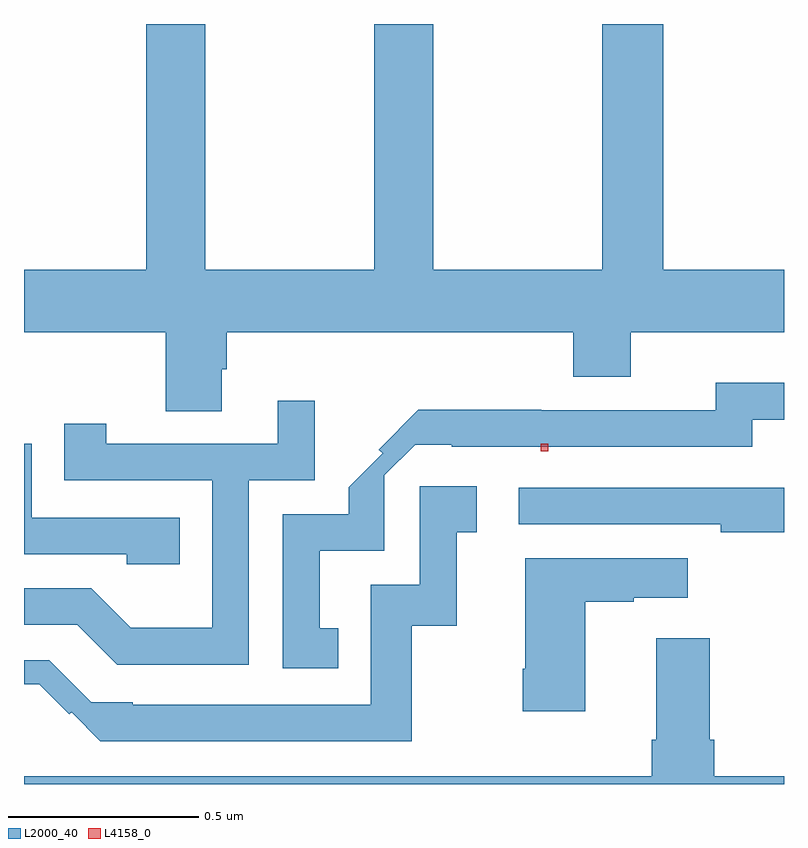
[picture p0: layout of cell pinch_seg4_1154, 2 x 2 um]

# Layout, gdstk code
import gdstk
lib = gdstk.Library(unit=1e-6, precision=1e-09)
def R(c, l, rs):  # rectangles x0, y0, x1, y1
    for r in rs: c.add(gdstk.rectangle(r[:2], r[2:], *l))
def P(c, l, *ps):  # polygons
    for p in ps: c.add(gdstk.Polygon(p, *l))
L2000_40 = (2000, 40)
L4158_0 = (4158, 0)

pinch_seg4_1154 = lib.new_cell('pinch_seg4_1154')
P(pinch_seg4_1154, L2000_40, [(517.562,794.039),(517.714,794.039),(517.714,794.156),(518.117,794.156),(518.117,794.32),(517.799,794.32),(517.799,794.967),(517.639,794.967),(517.639,794.32),(517.194,794.32),(517.194,794.967),(517.039,794.967),(517.039,794.32),(516.594,794.32),(516.594,794.967),(516.439,794.967),(516.439,794.32),(516.117,794.32),(516.117,794.156),(516.49,794.156),(516.49,793.948),(516.637,793.948),(516.637,794.058),(516.65,794.058),(516.65,794.156),(517.562,794.156)],
  [(516.944,793.377),(516.895,793.377),(516.895,793.581),(517.065,793.581),(517.065,793.779),(517.146,793.86),(517.243,793.86),(517.243,793.854),(518.034,793.854),(518.034,793.926),(518.117,793.926),(518.117,794.023),(517.938,794.023),(517.938,793.95),(517.478,793.95),(517.478,793.952),(517.155,793.952),(517.051,793.847),(517.061,793.837),(516.972,793.748),(516.972,793.677),(516.798,793.677),(516.798,793.272),(516.944,793.272)],
  [(516.708,793.767),(516.882,793.767),(516.882,793.975),(516.785,793.975),(516.785,793.863),(516.334,793.863),(516.334,793.915),(516.223,793.915),(516.223,793.767),(516.612,793.767),(516.612,793.378),(516.398,793.378),(516.294,793.482),(516.117,793.482),(516.117,793.386),(516.257,793.386),(516.362,793.281),(516.708,793.281)],
  [(516.527,793.668),(516.138,793.668),(516.138,793.863),(516.117,793.863),(516.117,793.572),(516.387,793.572),(516.387,793.545),(516.527,793.545)],
  [(517.138,793.383),(517.256,793.383),(517.256,793.629),(517.309,793.629),(517.309,793.75),(517.158,793.75),(517.158,793.491),(517.029,793.491),(517.029,793.176),(516.403,793.176),(516.403,793.182),(516.294,793.182),(516.183,793.293),(516.117,793.293),(516.117,793.229),(516.157,793.229),(516.236,793.15),(516.242,793.156),(516.318,793.08),(517.138,793.08)],
  [(518.117,793.746),(517.419,793.746),(517.419,793.65),(517.951,793.65),(517.951,793.63),(518.117,793.63)],
  [(517.594,793.447),(517.721,793.447),(517.721,793.457),(517.864,793.457),(517.864,793.561),(517.436,793.561),(517.436,793.27),(517.429,793.27),(517.429,793.158),(517.594,793.158)],
  [(518.117,792.988),(517.934,792.988),(517.934,793.084),(517.921,793.084),(517.921,793.351),(517.781,793.351),(517.781,793.084),(517.769,793.084),(517.769,792.988),(516.117,792.988),(516.117,792.967),(518.117,792.967)])
R(pinch_seg4_1154, L4158_0, [(517.477,793.843,517.497,793.863)])

lib.write_gds('pinch_seg4_1154.gds')
